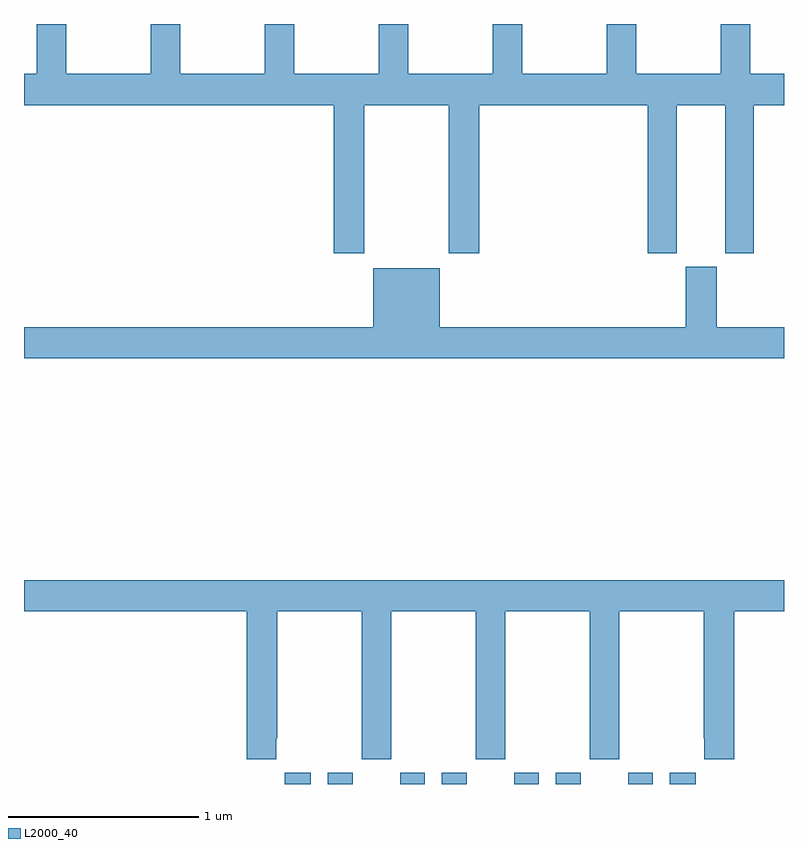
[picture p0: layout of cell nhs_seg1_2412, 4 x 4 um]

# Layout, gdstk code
import gdstk
lib = gdstk.Library(unit=1e-6, precision=1e-09)
def R(c, l, rs):  # rectangles x0, y0, x1, y1
    for r in rs: c.add(gdstk.rectangle(r[:2], r[2:], *l))
def P(c, l, *ps):  # polygons
    for p in ps: c.add(gdstk.Polygon(p, *l))
L2000_40 = (2000, 40)

nhs_seg1_2412 = lib.new_cell('nhs_seg1_2412')
R(nhs_seg1_2412, L2000_40, [(244.373,508.199,244.51,508.258), (244.598,508.199,244.729,508.258), (244.979,508.199,245.11,508.258), (245.198,508.199,245.329,508.258), (245.579,508.199,245.71,508.258), (245.798,508.199,245.929,508.258), (246.179,508.199,246.31,508.258), (246.398,508.199,246.535,508.258)])
P(nhs_seg1_2412, L2000_40, [(244.791,511.772),(245.236,511.772),(245.236,510.993),(245.396,510.993),(245.396,511.772),(246.284,511.772),(246.284,510.993),(246.436,510.993),(246.436,511.772),(246.692,511.772),(246.692,510.993),(246.84,510.993),(246.84,511.772),(247,511.772),(247,511.936),(246.822,511.936),(246.822,512.199),(246.667,512.199),(246.667,511.936),(246.222,511.936),(246.222,512.199),(246.067,512.199),(246.067,511.936),(245.622,511.936),(245.622,512.199),(245.467,512.199),(245.467,511.936),(245.022,511.936),(245.022,512.199),(244.867,512.199),(244.867,511.936),(244.422,511.936),(244.422,512.199),(244.267,512.199),(244.267,511.936),(243.822,511.936),(243.822,512.199),(243.667,512.199),(243.667,511.936),(243.222,511.936),(243.222,512.199),(243.067,512.199),(243.067,511.936),(243,511.936),(243,511.772),(244.631,511.772),(244.631,510.993),(244.791,510.993)],
  [(247,510.604),(246.646,510.604),(246.646,510.921),(246.482,510.921),(246.482,510.604),(245.188,510.604),(245.188,510.913),(244.838,510.913),(244.838,510.604),(243,510.604),(243,510.44),(247,510.44)],
  [(244.327,508.441),(244.332,508.441),(244.332,509.108),(244.777,509.108),(244.777,508.329),(244.932,508.329),(244.932,509.108),(245.377,509.108),(245.377,508.329),(245.532,508.329),(245.532,509.108),(245.977,509.108),(245.977,508.329),(246.132,508.329),(246.132,509.108),(246.577,509.108),(246.577,508.441),(246.581,508.441),(246.581,508.329),(246.737,508.329),(246.737,509.108),(247,509.108),(247,509.272),(243,509.272),(243,509.108),(244.172,509.108),(244.172,508.329),(244.327,508.329)])

lib.write_gds('nhs_seg1_2412.gds')
